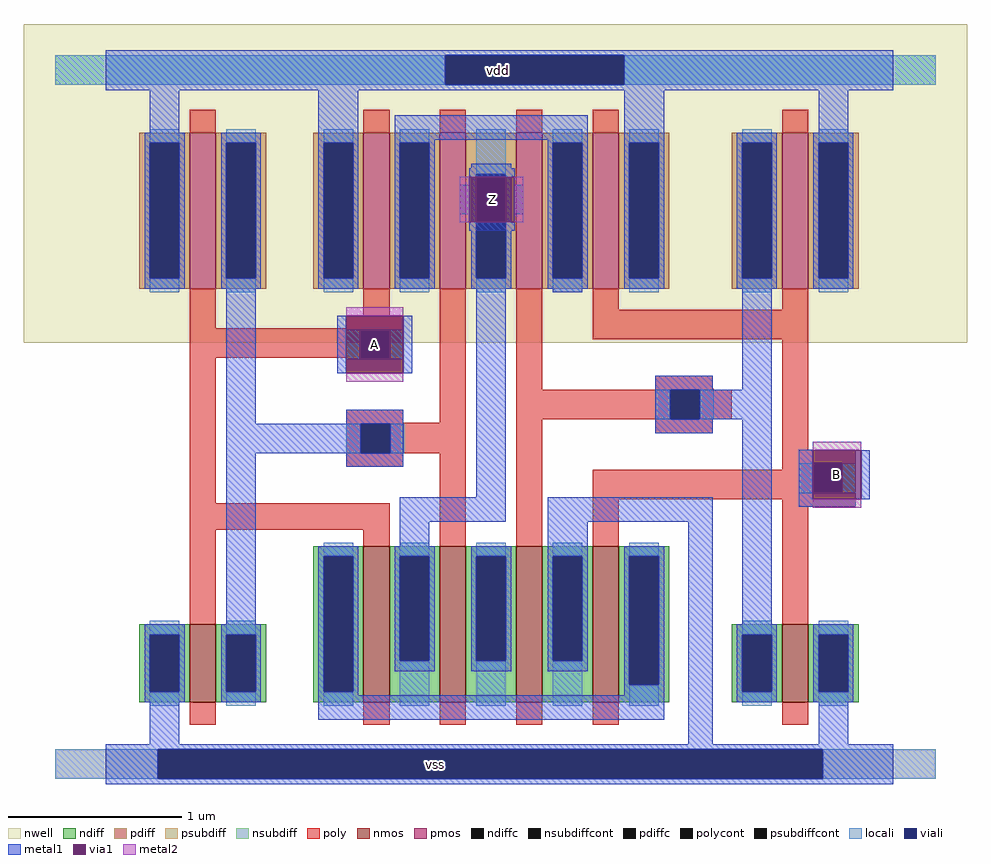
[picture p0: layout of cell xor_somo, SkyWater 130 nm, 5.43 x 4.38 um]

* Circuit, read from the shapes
.subckt xor_somo A B Z vdd vss
XM1 n1 A vss vss sky130_fd_pr__nfet_01v8 w=0.45 l=0.15
XM2 Z A n2 vss sky130_fd_pr__nfet_01v8 w=0.9 l=0.15
XM3 n3 n1 Z vss sky130_fd_pr__nfet_01v8 w=0.9 l=0.15
XM4 vss n4 n3 vss sky130_fd_pr__nfet_01v8 w=0.9 l=0.15
XM5 n2 B vss vss sky130_fd_pr__nfet_01v8 w=0.9 l=0.15
XM6 vss B n4 vss sky130_fd_pr__nfet_01v8 w=0.45 l=0.15
XM7 n1 A vdd vdd sky130_fd_pr__pfet_01v8 w=0.9 l=0.15
XM8 n5 A vdd vdd sky130_fd_pr__pfet_01v8 w=0.9 l=0.15
XM9 Z n1 n5 vdd sky130_fd_pr__pfet_01v8 w=0.9 l=0.15
XM10 n5 n4 Z vdd sky130_fd_pr__pfet_01v8 w=0.9 l=0.15
XM11 vdd B n5 vdd sky130_fd_pr__pfet_01v8 w=0.9 l=0.15
XM12 vdd B n4 vdd sky130_fd_pr__pfet_01v8 w=0.9 l=0.15
.ends

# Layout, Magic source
magic
tech sky130A
magscale 1 2
<< nwell >>
rect -96 745 990 852
rect -96 741 4 745
rect 208 744 990 745
rect -96 485 3 741
rect 207 670 990 744
rect 883 485 990 670
<< psubdiff >>
rect -60 -17 58 17
rect 824 -17 954 17
<< nsubdiff >>
rect -60 782 389 816
rect 595 782 954 816
<< psubdiffcont >>
rect 58 -17 824 17
<< nsubdiffcont >>
rect 389 782 595 816
<< poly >>
rect 95 502 125 521
rect 295 516 325 526
rect 589 521 777 523
rect 275 502 341 516
rect 95 500 341 502
rect 95 468 291 500
rect 95 300 125 468
rect 275 466 291 468
rect 325 466 341 500
rect 275 450 341 466
rect 275 393 341 408
rect 383 393 413 521
rect 275 392 413 393
rect 275 358 292 392
rect 326 358 413 392
rect 275 342 341 358
rect 95 270 325 300
rect 383 277 413 358
rect 471 431 501 521
rect 559 489 807 521
rect 631 432 697 447
rect 631 431 698 432
rect 471 397 648 431
rect 682 397 719 431
rect 471 277 501 397
rect 631 381 697 397
rect 777 362 807 489
rect 777 346 862 362
rect 777 339 812 346
rect 559 312 812 339
rect 846 312 862 346
rect 559 305 862 312
rect 559 277 589 305
rect 777 296 862 305
rect 95 187 125 270
rect 777 187 807 296
<< polycont >>
rect 291 466 325 500
rect 292 358 326 392
rect 648 397 682 431
rect 812 312 846 346
<< locali >>
rect -60 782 389 816
rect 595 782 954 816
rect 275 466 291 500
rect 325 466 341 500
rect 631 397 648 431
rect 682 397 698 431
rect 275 358 292 392
rect 326 358 342 392
rect 796 312 812 346
rect 846 312 862 346
rect -60 -17 58 17
rect 824 -17 954 17
<< viali >>
rect 389 782 595 816
rect 291 466 325 500
rect 648 397 682 431
rect 292 358 326 392
rect 812 312 846 346
rect 58 -17 824 17
<< metal1 >>
rect -2 816 905 822
rect -2 782 389 816
rect 595 782 905 816
rect -2 776 905 782
rect 49 727 83 776
rect 243 727 289 776
rect 331 719 553 747
rect 595 727 641 776
rect 819 726 853 776
rect 417 676 469 686
rect 406 633 417 667
rect 469 633 479 667
rect 417 614 469 624
rect 137 392 171 547
rect 265 450 275 516
rect 341 450 351 516
rect 275 392 341 408
rect 137 358 292 392
rect 326 358 341 392
rect 137 161 171 358
rect 275 342 341 358
rect 425 307 459 547
rect 513 543 547 547
rect 631 431 697 447
rect 731 431 765 547
rect 631 397 648 431
rect 682 397 765 431
rect 631 381 697 397
rect 337 279 459 307
rect 507 279 697 307
rect 337 251 371 279
rect 507 251 553 279
rect 49 23 83 71
rect 669 23 697 279
rect 731 161 765 397
rect 796 361 862 362
rect 796 305 812 361
rect 868 305 878 361
rect 796 296 862 305
rect 819 23 853 71
rect -2 17 905 23
rect -2 -17 58 17
rect 824 -17 905 17
rect -2 -23 905 -17
<< via1 >>
rect 417 624 469 676
rect 275 500 341 516
rect 275 466 291 500
rect 291 466 325 500
rect 325 466 341 500
rect 275 450 341 466
rect 812 346 868 361
rect 812 312 846 346
rect 846 312 868 346
rect 812 305 868 312
<< metal2 >>
rect 406 624 417 676
rect 469 624 479 676
rect 275 516 341 526
rect 275 440 341 450
rect 812 361 868 371
rect 812 295 868 305
use sky130_fd_pr__nfet_01v8_NNQ2PV  sky130_fd_pr__nfet_01v8_NNQ2PV_0
transform 1 0 110 0 1 116
box -73 -71 73 71
use nmos_900_derecha  nmos_900_derecha_0
transform 1 0 310 0 1 167
box -73 -122 73 110
use nmos_900_dos  nmos_900_dos_1
transform 1 0 486 0 1 167
box -73 -122 73 110
use nmos_900_dos  nmos_900_dos_0
transform 1 0 398 0 1 167
box -73 -122 73 110
use nmos_900_izquierda  nmos_900_izquierda_0
transform 1 0 574 0 1 167
box -73 -122 73 110
use sky130_fd_pr__nfet_01v8_NNQ2PV  sky130_fd_pr__nfet_01v8_NNQ2PV_1
transform 1 0 792 0 1 116
box -73 -71 73 71
use sky130_fd_pr__pfet_01v8_5UWV5B  sky130_fd_pr__pfet_01v8_5UWV5B_1
transform 1 0 310 0 1 637
box -109 -152 109 152
use sky130_fd_pr__pfet_01v8_5UWV5B  sky130_fd_pr__pfet_01v8_5UWV5B_0
transform 1 0 110 0 1 637
box -109 -152 109 152
use pmos_900_derecho  pmos_900_derecho_0
transform 1 0 289 0 1 485
box 0 0 218 286
use pmos_900_izquierdo  pmos_900_izquierdo_0
transform 1 0 377 0 1 485
box 0 0 218 286
use sky130_fd_pr__pfet_01v8_5UWV5B  sky130_fd_pr__pfet_01v8_5UWV5B_2
transform 1 0 574 0 1 637
box -109 -152 109 152
use sky130_fd_pr__pfet_01v8_5UWV5B  sky130_fd_pr__pfet_01v8_5UWV5B_3
transform 1 0 792 0 1 637
box -109 -152 109 152
<< labels >>
rlabel metal2 275 450 341 516 1 A
rlabel metal1 347 -18 408 16 1 vss
rlabel metal2 812 305 868 361 1 B
rlabel nwell 86 782 816 816 1 vdd
rlabel via1 417 624 469 676 3 Z
<< end >>

# cell sky130_fd_pr__nfet_01v8_NNQ2PV: kit device sky130_fd_pr__nfet_01v8, w 0.450 l 0.150 m 1 nf 1 diffcov 100 polycov 100 guard 0 glc 0 grc 0 gtc 0 gbc 0 tbcov 100 rlcov 100 topc 0 botc 0 poverlap 0 doverlap 1 lmin 0.15 wmin 0.42 compatible {sky130_fd_pr__nfet_01v8 sky130_fd_pr__nfet_01v8_lvt sky130_fd_bs_flash__special_sonosfet_star sky130_fd_pr__nfet_g5v0d10v5 sky130_fd_pr__nfet_05v0_nvt} full_metal 0 viasrc 100 viadrn 100 viagate 100 viagb 0 viagr 0 viagl 0 viagt 0

# cell nmos_900_derecha: kit device sky130_fd_pr__nfet_01v8, w 0.9 l 0.150 m 1 nf 1 diffcov 100 polycov 100 guard 0 glc 0 grc 0 gtc 0 gbc 0 tbcov 100 rlcov 100 topc 0 botc 0 poverlap 0 doverlap 1 lmin 0.15 wmin 0.42 compatible {sky130_fd_pr__nfet_01v8 sky130_fd_pr__nfet_01v8_lvt sky130_fd_bs_flash__special_sonosfet_star sky130_fd_pr__nfet_g5v0d10v5 sky130_fd_pr__nfet_05v0_nvt} full_metal 0 viasrc 100 viadrn 100 viagate 100 viagb 0 viagr 0 viagl 0 viagt 0

# cell nmos_900_dos: kit device sky130_fd_pr__nfet_01v8, w 0.9 l 0.150 m 1 nf 1 diffcov 100 polycov 100 guard 0 glc 0 grc 0 gtc 0 gbc 0 tbcov 100 rlcov 100 topc 0 botc 0 poverlap 0 doverlap 1 lmin 0.15 wmin 0.42 compatible {sky130_fd_pr__nfet_01v8 sky130_fd_pr__nfet_01v8_lvt sky130_fd_bs_flash__special_sonosfet_star sky130_fd_pr__nfet_g5v0d10v5 sky130_fd_pr__nfet_05v0_nvt} full_metal 0 viasrc 100 viadrn 100 viagate 100 viagb 0 viagr 0 viagl 0 viagt 0

# cell nmos_900_izquierda: kit device sky130_fd_pr__nfet_01v8, w 0.9 l 0.150 m 1 nf 1 diffcov 100 polycov 100 guard 0 glc 0 grc 0 gtc 0 gbc 0 tbcov 100 rlcov 100 topc 0 botc 0 poverlap 0 doverlap 1 lmin 0.15 wmin 0.42 compatible {sky130_fd_pr__nfet_01v8 sky130_fd_pr__nfet_01v8_lvt sky130_fd_bs_flash__special_sonosfet_star sky130_fd_pr__nfet_g5v0d10v5 sky130_fd_pr__nfet_05v0_nvt} full_metal 0 viasrc 100 viadrn 100 viagate 100 viagb 0 viagr 0 viagl 0 viagt 0

# cell sky130_fd_pr__pfet_01v8_5UWV5B: kit device sky130_fd_pr__pfet_01v8, w 0.90 l 0.15 m 1 nf 1 diffcov 100 polycov 100 guard 0 glc 0 grc 0 gtc 0 gbc 0 tbcov 100 rlcov 100 topc 0 botc 0 poverlap 0 doverlap 1 lmin 0.15 wmin 0.42 compatible {sky130_fd_pr__pfet_01v8 sky130_fd_pr__pfet_01v8_lvt sky130_fd_pr__pfet_01v8_hvt sky130_fd_pr__pfet_g5v0d10v5} full_metal 0 viasrc 100 viadrn 100 viagate 100 viagb 0 viagr 0 viagl 0 viagt 0

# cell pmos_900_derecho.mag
magic
tech sky130A
magscale 1 2
use contacto_chico_1_ok  contacto_chico_1_ok_0
transform 1 0 109 0 1 152
box -109 -152 109 134
<< end >>

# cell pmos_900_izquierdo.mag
magic
tech sky130A
magscale 1 2
use contacto_chico_2_ok  contacto_chico_2_ok_0
transform 1 0 109 0 1 152
box -109 -152 109 134
<< end >>

# cell contacto_chico_2_ok: kit device sky130_fd_pr__pfet_01v8, w 0.9 l 0.15 m 1 nf 1 diffcov 100 polycov 100 guard 0 glc 0 grc 0 gtc 0 gbc 0 tbcov 100 rlcov 100 topc 0 botc 0 poverlap 0 doverlap 1 lmin 0.15 wmin 0.42 compatible {sky130_fd_pr__pfet_01v8 sky130_fd_pr__pfet_01v8_lvt sky130_fd_pr__pfet_01v8_hvt sky130_fd_pr__pfet_g5v0d10v5} full_metal 0 viasrc 100 viadrn 100 viagate 100 viagb 0 viagr 0 viagl 0 viagt 0

# cell contacto_chico_1_ok: kit device sky130_fd_pr__pfet_01v8, w 0.9 l 0.15 m 1 nf 1 diffcov 100 polycov 100 guard 0 glc 0 grc 0 gtc 0 gbc 0 tbcov 100 rlcov 100 topc 0 botc 0 poverlap 0 doverlap 1 lmin 0.15 wmin 0.42 compatible {sky130_fd_pr__pfet_01v8 sky130_fd_pr__pfet_01v8_lvt sky130_fd_pr__pfet_01v8_hvt sky130_fd_pr__pfet_g5v0d10v5} full_metal 0 viasrc 100 viadrn 100 viagate 100 viagb 0 viagr 0 viagl 0 viagt 0
